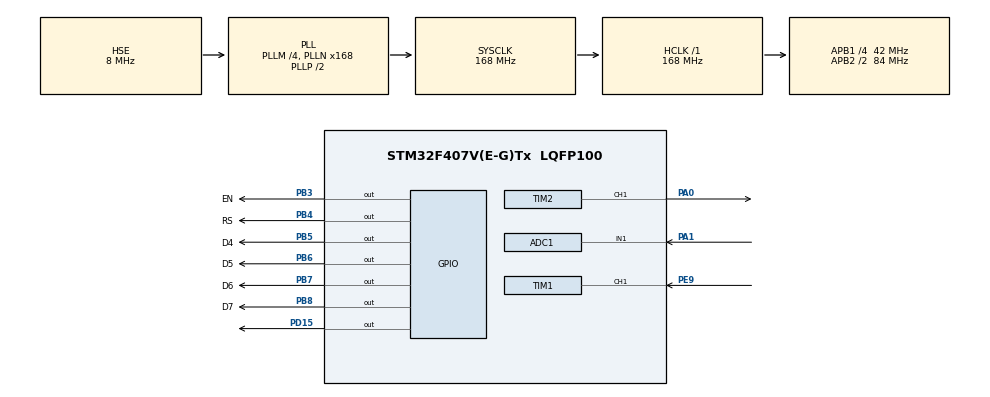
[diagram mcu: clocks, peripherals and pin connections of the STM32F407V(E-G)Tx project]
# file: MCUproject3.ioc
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ADC1.Channel-0\#ChannelRegularConversion=ADC_CHANNEL_1
ADC1.NbrOfConversionFlag=1
ADC1.Rank-0\#ChannelRegularConversion=1
ADC1.SamplingTime-0\#ChannelRegularConversion=ADC_SAMPLETIME_3CYCLES
ADC1.master=1
Mcu.Family=STM32F4
Mcu.Name=STM32F407V(E-G)Tx
Mcu.Package=LQFP100
NVIC.PriorityGroup=NVIC_PRIORITYGROUP_4
NVIC.TIM1_CC_IRQn=true\:0\:0\:false\:false\:true\:true\:true\:true
NVIC.TIM3_IRQn=true\:0\:0\:false\:false\:true\:true\:true\:true
PA0-WKUP.Signal=S_TIM2_CH1_ETR
PA1.Signal=ADCx_IN1
PA13.Mode=Serial_Wire
PA13.Signal=SYS_JTMS-SWDIO
PA14.Mode=Serial_Wire
PA14.Signal=SYS_JTCK-SWCLK
PB3.GPIO_Label=EN
PB3.Signal=GPIO_Output
PB4.GPIO_Label=RS
PB4.Signal=GPIO_Output
PB5.GPIO_Label=D4
PB5.Signal=GPIO_Output
PB6.GPIO_Label=D5
PB6.Signal=GPIO_Output
PB7.GPIO_Label=D6
PB7.Signal=GPIO_Output
PB8.GPIO_Label=D7
PB8.Signal=GPIO_Output
PD15.Signal=GPIO_Output
PE9.Signal=S_TIM1_CH1
PH0-OSC_IN.Mode=HSE-External-Oscillator
PH0-OSC_IN.Signal=RCC_OSC_IN
PH1-OSC_OUT.Mode=HSE-External-Oscillator
PH1-OSC_OUT.Signal=RCC_OSC_OUT
ProjectManager.HeapSize=0x200
ProjectManager.StackSize=0x400
ProjectManager.TargetToolchain=STM32CubeIDE
RCC.48MHZClocksFreq_Value=84000000
RCC.AHBFreq_Value=168000000
RCC.APB1CLKDivider=RCC_HCLK_DIV4
RCC.APB1Freq_Value=42000000
RCC.APB1TimFreq_Value=84000000
RCC.APB2CLKDivider=RCC_HCLK_DIV2
RCC.APB2Freq_Value=84000000
RCC.APB2TimFreq_Value=168000000
RCC.CortexFreq_Value=168000000
RCC.EnbaleCSS=true
RCC.HCLKFreq_Value=168000000
RCC.HSE_VALUE=8000000
RCC.HSI_VALUE=16000000
RCC.LSE_VALUE=32768
RCC.PLLM=4
RCC.PLLN=168
RCC.PLLSourceVirtual=RCC_PLLSOURCE_HSE
RCC.SYSCLKFreq_VALUE=168000000
RCC.SYSCLKSource=RCC_SYSCLKSOURCE_PLLCLK
RCC.VCOOutputFreq_Value=336000000
SH.ADCx_IN1.0=ADC1_IN1,IN1
SH.S_TIM1_CH1.0=TIM1_CH1,Input_Capture1_from_TI1
SH.S_TIM2_CH1_ETR.0=TIM2_CH1,PWM Generation1 CH1
TIM1.AutoReloadPreload=TIM_AUTORELOAD_PRELOAD_ENABLE
TIM1.Channel-Input_Capture1_from_TI1=TIM_CHANNEL_1
TIM1.Prescaler=167
TIM2.Channel-PWM\ Generation1\ CH1=TIM_CHANNEL_1
TIM2.Period=99
TIM2.Prescaler=83
TIM3.Period=999
TIM3.Prescaler=83
VP_TIM1_VS_ClockSourceINT.Mode=Internal
VP_TIM2_VS_ClockSourceINT.Mode=Internal
VP_TIM3_VS_ClockSourceINT.Mode=Internal
board=custom

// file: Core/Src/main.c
/* USER CODE BEGIN Header */
/**
 ******************************************************************************
 * @file           : main.c
 * @brief          : Main program body
 ******************************************************************************
 * @attention
 *
 * Copyright (c) 2023 STMicroelectronics.
 * All rights reserved.
 *
 * This software is licensed under terms that can be found in the LICENSE file
 * in the root directory of this software component.
 * If no LICENSE file comes with this software, it is provided AS-IS.
 *
 ******************************************************************************
 */
/* USER CODE END Header */
#include "main.h"
#include "adc.h"
#include "tim.h"
#include "gpio.h"

/* USER CODE BEGIN Includes */
#include <stdio.h>
#include "LCD16x2.h"
#include "LCD16x2_cfg.h"
/* USER CODE END Includes */

/* USER CODE BEGIN PD */
#define IDLE   0
#define BUSY   1
/* USER CODE END PD */

/* USER CODE BEGIN PV */

//int raw_count_number = 0;

uint32_t one_minute_counter = 0, one_minute_flag = 0;

uint16_t adc_raw_value = 0, adc_raw_value_percentage = 0;

uint32_t F_CLK = 1000000; // Reference frequency ( = 1 Mhz )
uint8_t State = IDLE; // Determines if input signal is 0 or 1 at the moment
uint32_t T1 = 0;
uint32_t T2 = 0;
uint32_t Ticks = 0; // Number of counts between two rising edges
uint16_t OVC = 0; // Overflow counter
uint32_t Freq = 0; // Raw frequency
uint32_t Feed_back_speed = 0; // Result (Feed back speed)
uint32_t maximum_Feed_back_speed = 0;
uint32_t Feed_back_speed_percentage = 0;

char Feed_back_speed_text[5], adc_raw_value_text[5],  Feed_back_speed_percentage_text[5],  adc_raw_value_percentage_text[5];
/* USER CODE END PV */

void SystemClock_Config(void);

/* USER CODE BEGIN 0 */

void HAL_TIM_IC_CaptureCallback(TIM_HandleTypeDef* htim)
{
	if(State == IDLE)
	{
		T1 = TIM1->CCR1;
		OVC = 0;
		State = BUSY;
	}
	else if(State == BUSY)
	{
		T2 = TIM1->CCR1;
		Ticks = (T2 + (OVC * 65535)) - T1;
		Freq = (uint32_t)(F_CLK/Ticks);
		Feed_back_speed = Freq * 60 ; // Converting frequency to rpm
		State = IDLE;
	}
}

void HAL_TIM_PeriodElapsedCallback(TIM_HandleTypeDef* htim)
{
	if ( htim == &htim1 )
		OVC++;

	if ( htim == &htim3 )// 1ms
	{
		if ( one_minute_flag == 1)
		{
			if ( adc_raw_value_percentage > Feed_back_speed_percentage)
				TIM2 -> CCR1 ++;
			if ( adc_raw_value_percentage < Feed_back_speed_percentage)
				TIM2 -> CCR1 --;
		}

		one_minute_counter++;
		if (one_minute_counter == 60000)// 1 minute has passed
			one_minute_flag = 1;
	}
}

/* USER CODE END 0 */

int main(void)
{

	/* MCU Configuration--------------------------------------------------------*/

	/* Reset of all peripherals, Initializes the Flash interface and the Systick. */
	HAL_Init();

	/* Configure the system clock */
	SystemClock_Config();

	/* Initialize all configured peripherals */
	MX_GPIO_Init();
	MX_TIM1_Init();
	MX_ADC1_Init();
	MX_TIM2_Init();
	MX_TIM3_Init();
	/* USER CODE BEGIN 2 */

	//ADC start
	HAL_ADC_Start(&hadc1);

	//PWM start
	HAL_TIM_PWM_Start(&htim2, TIM_CHANNEL_1);

	//Input Capture start
	HAL_TIM_Base_Start_IT(&htim1);
	HAL_TIM_IC_Start_IT(&htim1, TIM_CHANNEL_1);

	//LCD initialization
	LCD_Init();
	LCD_Clear();
	LCD_Set_Cursor(1, 1);
	LCD_Write_String(" ");

	//1 minute timer start
	HAL_TIM_Base_Start_IT(&htim3);

	//First step
	TIM2 -> CCR1 = 99;
	sprintf(Feed_back_speed_text,"%lud",Feed_back_speed);
	LCD_Set_Cursor(1, 2);
	LCD_Write_String(Feed_back_speed_text);

	/* USER CODE END 2 */

	/* Infinite loop */
	while (1)
	{

		/* USER CODE BEGIN 3 */

		adc_raw_value = HAL_ADC_GetValue(&hadc1);

		LCD_Clear();

		Feed_back_speed_percentage = (Feed_back_speed / maximum_Feed_back_speed) * 100;
		sprintf(Feed_back_speed_text,"%lud",Feed_back_speed);
		LCD_Set_Cursor(1, 2);
		LCD_Write_String(Feed_back_speed_text);

		if ( one_minute_flag == 0 )
		{
			maximum_Feed_back_speed = Feed_back_speed;
		}

		if ( one_minute_flag == 1 )
		{
			LCD_Clear();

			sprintf(Feed_back_speed_percentage_text,"%lud",Feed_back_speed_percentage);
			LCD_Set_Cursor(1, 10);
			LCD_Write_String(Feed_back_speed_percentage_text);

			sprintf(adc_raw_value_text,"%d",adc_raw_value);
			LCD_Set_Cursor(2, 2);
			LCD_Write_String(adc_raw_value_text);
			sprintf(adc_raw_value_percentage_text,"%d",adc_raw_value_percentage);
			LCD_Set_Cursor(2, 10);
			LCD_Write_String(adc_raw_value_percentage_text);
		}

		HAL_Delay(20);
	}
	/* USER CODE END 3 */
}

void SystemClock_Config(void)
{
	RCC_OscInitTypeDef RCC_OscInitStruct = {0};
	RCC_ClkInitTypeDef RCC_ClkInitStruct = {0};

	/** Configure the main internal regulator output voltage
	 */
	__HAL_RCC_PWR_CLK_ENABLE();
	__HAL_PWR_VOLTAGESCALING_CONFIG(PWR_REGULATOR_VOLTAGE_SCALE1);

	/** Initializes the RCC Oscillators according to the specified parameters
	 * in the RCC_OscInitTypeDef structure.
	 */
	RCC_OscInitStruct.OscillatorType = RCC_OSCILLATORTYPE_HSE;
	RCC_OscInitStruct.HSEState = RCC_HSE_ON;
	RCC_OscInitStruct.PLL.PLLState = RCC_PLL_ON;
	RCC_OscInitStruct.PLL.PLLSource = RCC_PLLSOURCE_HSE;
	RCC_OscInitStruct.PLL.PLLM = 4;
	RCC_OscInitStruct.PLL.PLLN = 168;
	RCC_OscInitStruct.PLL.PLLP = RCC_PLLP_DIV2;
	RCC_OscInitStruct.PLL.PLLQ = 4;
	if (HAL_RCC_OscConfig(&RCC_OscInitStruct) != HAL_OK)
	{
		Error_Handler();
	}

	/** Initializes the CPU, AHB and APB buses clocks
	 */
	RCC_ClkInitStruct.ClockType = RCC_CLOCKTYPE_HCLK|RCC_CLOCKTYPE_SYSCLK
			|RCC_CLOCKTYPE_PCLK1|RCC_CLOCKTYPE_PCLK2;
	RCC_ClkInitStruct.SYSCLKSource = RCC_SYSCLKSOURCE_PLLCLK;
	RCC_ClkInitStruct.AHBCLKDivider = RCC_SYSCLK_DIV1;
	RCC_ClkInitStruct.APB1CLKDivider = RCC_HCLK_DIV4;
	RCC_ClkInitStruct.APB2CLKDivider = RCC_HCLK_DIV2;

	if (HAL_RCC_ClockConfig(&RCC_ClkInitStruct, FLASH_LATENCY_5) != HAL_OK)
	{
		Error_Handler();
	}

	/** Enables the Clock Security System
	 */
	HAL_RCC_EnableCSS();
}

void Error_Handler(void)
{
	__disable_irq();
	while (1)
	{
	}
}
